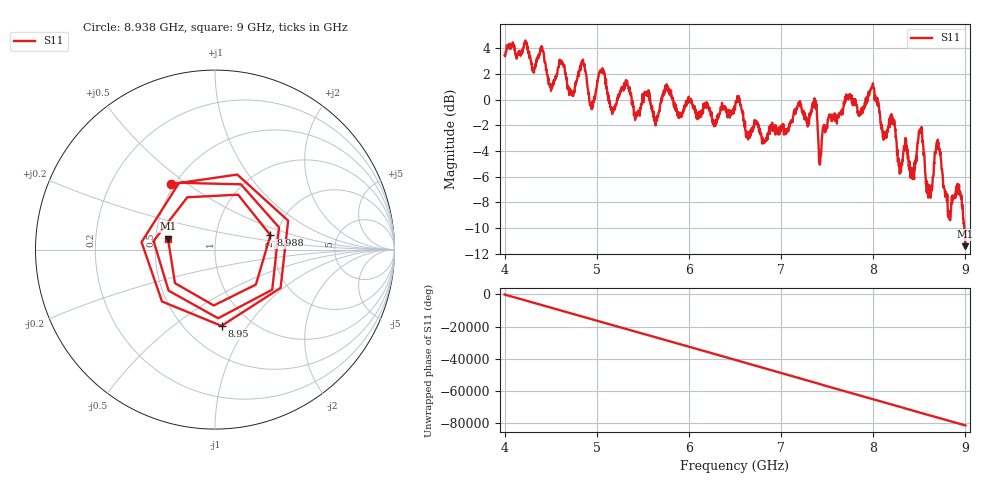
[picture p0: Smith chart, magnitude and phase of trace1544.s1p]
! Created with skrf 1.8.0 (http://scikit-rf.org).
# Hz S RI R 50.0
!freq ReS11 ImS11
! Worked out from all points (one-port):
!   1601 points, 4 GHz to 9 GHz, reference 50 ohm
!   lowest |S11| = -11.4 dB at 9 GHz (marker M1), VSWR 1.74, Z = 29.1 + j3.85 ohm
!   |S11| at or under -10 dB: 8.98843 GHz to end of sweep
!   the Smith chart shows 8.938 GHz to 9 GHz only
!   S11 on the Smith chart (normalised r, x): 8.938 GHz: 0.48, +0.43; 8.95 GHz: 0.74, -0.77; 8.988 GHz: 1.86, +0.33; 9 GHz: 0.58, +0.08
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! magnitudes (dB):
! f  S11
! 4 GHz  3.5
! 4.403 GHz  3.9
! 4.503 GHz  0.7
! 4.625 GHz  2.9
! 4.725 GHz  0.4
! 4.853 GHz  2.9
! 4.944 GHz  -0.7
! 5.05 GHz  2.2
! 5.166 GHz  -1.1
! 5.25 GHz  0.4
! 5.875 GHz  -1.2
! 6.5 GHz  -0.8
! 6.816 GHz  -3.4
! 7.125 GHz  -1.7
! 7.362 GHz  0.1
! 7.425 GHz  -4.9
! 7.75 GHz  0.3
! 7.988 GHz  1.0
! 8.375 GHz  -4.6
! 8.428 GHz  -5.5
! 8.512 GHz  -2.5
! 8.597 GHz  -7.6
! 8.703 GHz  -3.4
! 8.819 GHz  -9.2
! 8.938 GHz  -7.1
! 8.95 GHz  -7.4
! 8.988 GHz  -9.9
! 9 GHz  -11.4
